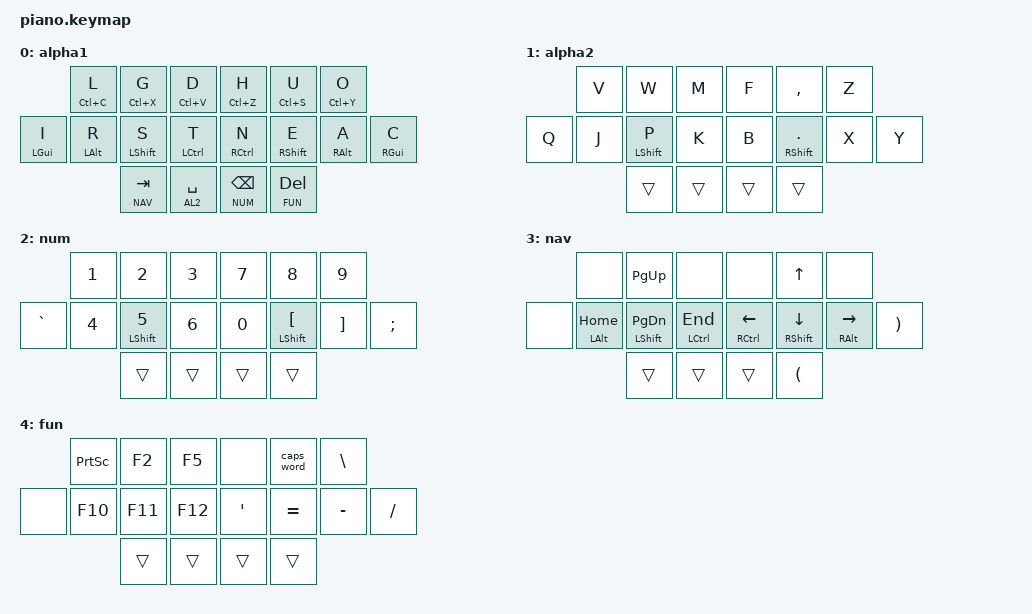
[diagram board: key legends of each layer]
/*
 * Copyright (c) 2020 The ZMK Contributors
 *
 * SPDX-License-Identifier: MIT
 */

#include <behaviors.dtsi>
#include <dt-bindings/zmk/keys.h>
#include <dt-bindings/zmk/bt.h>
#include <dt-bindings/zmk/mouse.h>

&mt {
    tapping-term-ms = <200>;
    flavor = "tap-preferred";
};

&lt {
    tapping-term-ms = <200>;
    flavor = "hold-preferred";
};

&caps_word {
    continue-list = <UNDERSCORE MINUS>, <BACKSPACE>, <DELETE>;
};

#define AS(keycode) &as LS(keycode) keycode

// Layers
#define AL1 0
#define AL2 1
#define NUM 2
#define NAV 3
#define FUN 4
/ {
    combos {
        compatible = "zmk,combos";

        combo_esc {
            timeout-ms = <30>;
            key-positions = <14 15>;
            bindings = <&kp ESC>;
        };

        combo_enter {
            timeout-ms = <30>;
            key-positions = <16 17>;
            bindings = <&kp ENTER>;
        };
    };

    behaviors {
        as: auto_shift {
            compatible = "zmk,behavior-hold-tap";
            label = "AUTO_SHIFT";
            #binding-cells = <2>;
            tapping_term_ms = <200>;
            quick_tap_ms = <0>;
            flavor = "tap-preferred";
            bindings = <&kp>, <&kp>;
        };
    };

    //      0   1   2       3   4   5
    //  6   7   8   9       10  11  12  13
    //          14  15      16  17
    keymap {
        compatible = "zmk,keymap";

        alpha1 {
            bindings = <
                                &as LC(C) L     &as LC(X) G     &as LC(V) D                 &as LC(Z) H     &as LC(S) U     &as LC(Y) O
                &mt LGUI I      &mt LALT R      &mt LSHIFT S    &mt LCTL T                  &mt RCTL N      &mt RSHIFT E    &mt RALT A      &mt RGUI C
                                                &lt NAV TAB     &lt AL2 SPC                 &lt NUM BSPC    &lt FUN DEL
            >;
        };

        alpha2 {
            bindings = <
                                &kp V           &kp W           &kp M                       &kp F           &kp COMMA       &kp Z
                &kp Q           &kp J           &mt LSHIFT P    &kp K                       &kp B           &mt RSHIFT DOT  &kp X           &kp Y
                                                &trans          &trans                      &trans          &trans
            >;
        };

        num {
            bindings = <
                                &kp N1          &kp N2          &kp N3                      &kp N7          &kp N8          &kp N9
                &kp GRAVE       &kp N4          &mt LSHIFT N5   &kp N6                      &kp N0          &mt LSHIFT LBKT &kp RBKT        &kp SEMI
                                                &trans          &trans                      &trans          &trans
            >;
        };

        nav {
            bindings = <
                                &none           &kp PG_UP        &none                      &none           &kp UP          &none
                &none           &mt LALT HOME   &mt LSHIFT PG_DN &mt LCTL END               &mt RCTL LEFT   &mt RSHIFT DOWN &mt RALT RIGHT  &kp RPAR
                                                &trans           &trans                     &trans          &kp LPAR
            >;
        };

        fun {
            bindings = <
                                &kp PSCRN       &kp F2          &kp F5                      &none           &caps_word      &kp BSLH
                &none           &kp F10         &kp F11         &kp F12                     &kp SQT         &kp EQUAL       &kp MINUS       &kp FSLH
                                                &trans          &trans                      &trans          &trans
            >;
        };
    };
};
